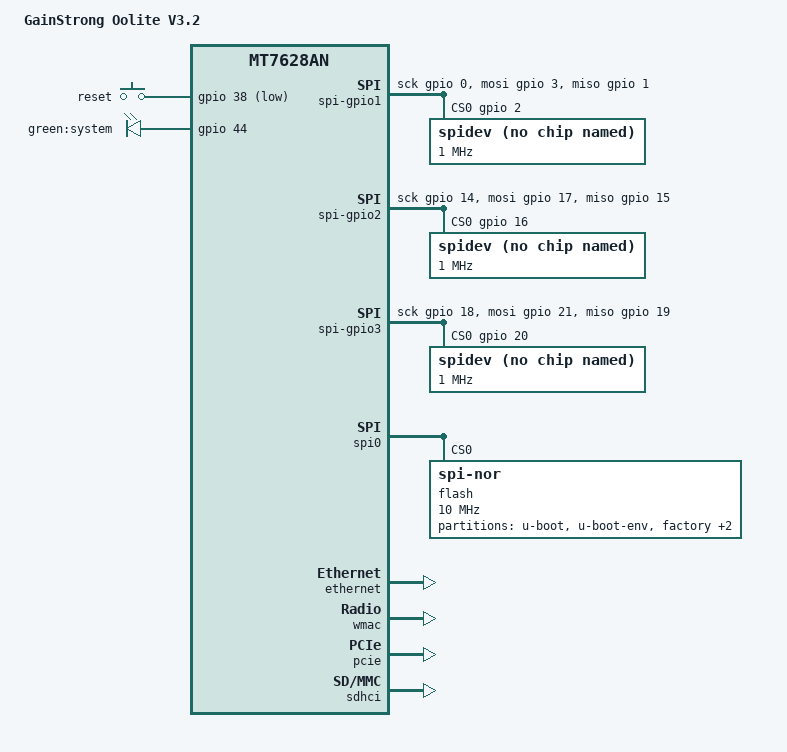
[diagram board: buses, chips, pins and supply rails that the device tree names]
#include "mt7628an.dtsi"

#include <dt-bindings/gpio/gpio.h>
#include <dt-bindings/input/input.h>

/ {
	compatible = "gainstrong,oolite-v32", "mediatek,mt7628an-soc";
	model = "GainStrong Oolite V3.2";

	aliases {
		led-boot = &led_system;
		led-failsafe = &led_system;
		led-upgrade = &led_system;
	};

	keys {
		compatible = "gpio-keys";

		reset {
			label = "reset";
			gpios = <&gpio 38 GPIO_ACTIVE_LOW>;
			linux,code = <KEY_RESTART>;
		};
	};

	leds {
		compatible = "gpio-leds";

		led_system: system {
			label = "green:system";
			gpios = <&gpio 44 GPIO_ACTIVE_HIGH>;
		};
	};

	spi-gpio1 {
		compatible = "spi-gpio";
		#address-cells = <1>;
		gpio-sck = <&gpio 0 0>;
		cs-gpios = <&gpio 2 0>;
		gpio-mosi = <&gpio 3 0>;
		gpio-miso = <&gpio 1 0>;
		num-chipselects = <1>;
		spidev@0 {
			#address-cells = <1>;
			compatible = "linux,spidev";
			spi-max-frequency = <1000000>;
			reg = <0>;
		};
	};

	spi-gpio2 {
		compatible = "spi-gpio";
		#address-cells = <1>;
		gpio-sck = <&gpio 14 0>;
		cs-gpios = <&gpio 16 0>;
		gpio-mosi = <&gpio 17 0>;
		gpio-miso = <&gpio 15 0>;
		num-chipselects = <1>;
		spidev@0 {
			#address-cells = <1>;
			compatible = "linux,spidev";
			spi-max-frequency = <1000000>;
			reg = <0>;
		};
	};

	spi-gpio3 {
		compatible = "spi-gpio";
		#address-cells = <1>;
		gpio-sck = <&gpio 18 0>;
		cs-gpios = <&gpio 20 0>;
		gpio-mosi = <&gpio 21 0>;
		gpio-miso = <&gpio 19 0>;
		num-chipselects = <1>;
		spidev@0 {
			#address-cells = <1>;
			compatible = "linux,spidev";
			spi-max-frequency = <1000000>;
			reg = <0>;
		};
	};

	// spi-gpio4 {
	// 	compatible = "spi-gpio";
	// 	#address-cells = <1>;
	// 	gpio-sck = <&gpio 38 0>;
	// 	cs-gpios = <&gpio 40 0>;
	// 	gpio-mosi = <&gpio 41 0>;
	// 	gpio-miso = <&gpio 39 0>;
	// 	num-chipselects = <1>;
	// 	spidev@0 {
	// 		#address-cells = <1>;
	// 		compatible = "linux,spidev";
	// 		spi-max-frequency = <1000000>;
	// 		reg = <0>;
	// 	};
	// };
};

&state_default {
	gpio {
		groups = "gpio", "i2c", "i2s", "spi cs1", "uart1", "uart2", "pwm0", "pwm1", "refclk", "p0led_an", "p1led_an", "p2led_an", "p3led_an", "p4led_an", "wled_an";
		function = "gpio";
	};
};

&spi0 {
	status = "okay";

	flash@0 {
		compatible = "jedec,spi-nor";
		reg = <0>;
		spi-max-frequency = <10000000>;

		partitions {
			compatible = "fixed-partitions";
			#address-cells = <1>;
			#size-cells = <1>;

			partition@0 {
				label = "u-boot";
				reg = <0x0 0x30000>;
				read-only;
			};

			partition@30000 {
				label = "u-boot-env";
				reg = <0x30000 0x10000>;
			};

			factory: partition@40000 {
				label = "factory";
				reg = <0x40000 0x10000>;
				read-only;
			};

			partition@50000 {
				compatible = "denx,uimage";
				reg = <0x50000 0xfb0000>;
				label = "firmware";
			};

			all {
				reg = <0x0 0x1000000>;
				label = "all";
				read-only;
			};
		};
	};
};

&ethernet {
	status = "okay";

	nvmem-cells = <&macaddr_factory_4>;
	nvmem-cell-names = "mac-address";
	mac-address-increment = <1>;
};

&factory {
	compatible = "nvmem-cells";
	#address-cells = <1>;
	#size-cells = <1>;

	macaddr_factory_4: macaddr@4 {
		reg = <0x4 0x6>;
	};
};

&wmac {
	status = "okay";
	mediatek,mtd-eeprom = <&factory 0x0>;
};

&pcie {
	status = "okay";
};

// 注意：GPIO14-29（含SD接口）不能与LAN1-LAN4同时启用
// Note: GPIO14-29 (including SD interface) cannot be enabled simultaneously with LAN1-LAN4
&sdhci {
	status = "okay";
};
